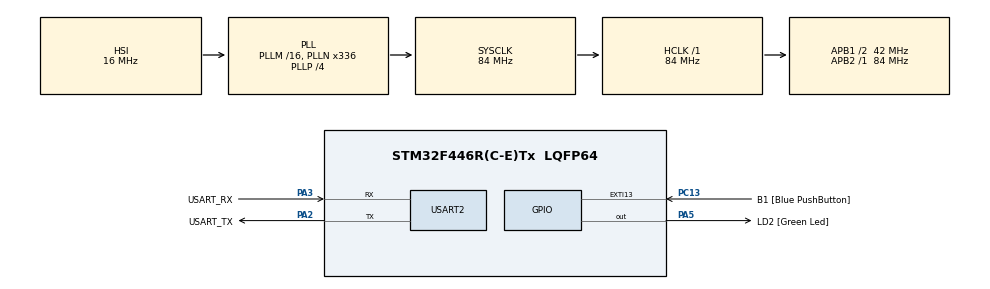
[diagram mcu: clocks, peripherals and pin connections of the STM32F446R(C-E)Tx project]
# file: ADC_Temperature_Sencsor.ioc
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ADC1.Channel-0\#ChannelRegularConversion=ADC_CHANNEL_TEMPSENSOR
ADC1.ContinuousConvMode=ENABLE
ADC1.NbrOfConversionFlag=1
ADC1.Rank-0\#ChannelRegularConversion=1
ADC1.SamplingTime-0\#ChannelRegularConversion=ADC_SAMPLETIME_15CYCLES
ADC1.master=1
Mcu.Family=STM32F4
Mcu.Name=STM32F446R(C-E)Tx
Mcu.Package=LQFP64
NVIC.PriorityGroup=NVIC_PRIORITYGROUP_0
PA13.GPIO_Label=TMS
PA13.Mode=Serial_Wire
PA13.Signal=SYS_JTMS-SWDIO
PA14.GPIO_Label=TCK
PA14.Mode=Serial_Wire
PA14.Signal=SYS_JTCK-SWCLK
PA2.GPIO_Label=USART_TX
PA2.Mode=Asynchronous
PA2.Signal=USART2_TX
PA3.GPIO_Label=USART_RX
PA3.Mode=Asynchronous
PA3.Signal=USART2_RX
PA5.GPIO_Label=LD2 [Green Led]
PA5.Signal=GPIO_Output
PB3.GPIO_Label=SWO
PB3.Signal=SYS_JTDO-SWO
PC13.GPIO_Label=B1 [Blue PushButton]
PC13.GPIO_ModeDefaultEXTI=GPIO_MODE_IT_FALLING
PC13.Signal=GPXTI13
PC14-OSC32_IN.Signal=RCC_OSC32_IN
PC15-OSC32_OUT.Signal=RCC_OSC32_OUT
PH0-OSC_IN.Signal=RCC_OSC_IN
PH1-OSC_OUT.Signal=RCC_OSC_OUT
ProjectManager.HeapSize=0x200
ProjectManager.StackSize=0x400
ProjectManager.TargetToolchain=STM32CubeIDE
RCC.48MHZClocksFreq_Value=84000000
RCC.AHBFreq_Value=84000000
RCC.APB1CLKDivider=RCC_HCLK_DIV2
RCC.APB1Freq_Value=42000000
RCC.APB1TimFreq_Value=84000000
RCC.APB2Freq_Value=84000000
RCC.APB2TimFreq_Value=84000000
RCC.CortexFreq_Value=84000000
RCC.FLatency-AdvancedSettings=FLASH_LATENCY_2
RCC.HCLKFreq_Value=84000000
RCC.HSE_VALUE=8000000
RCC.HSI_VALUE=16000000
RCC.PLLN=336
RCC.PLLP=RCC_PLLP_DIV4
RCC.SYSCLKFreq_VALUE=84000000
RCC.SYSCLKSource=RCC_SYSCLKSOURCE_PLLCLK
RCC.USBFreq_Value=168000000
RCC.VCOOutputFreq_Value=336000000
USART2.VirtualMode=VM_ASYNC
VP_ADC1_TempSens_Input.Mode=IN-TempSens
board=NUCLEO-F446RE

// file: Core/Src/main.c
/* USER CODE BEGIN Header */
/**
  ******************************************************************************
  * @file           : main.c
  * @brief          : Main program body
  ******************************************************************************
  * @attention
  *
  * Copyright (c) 2026 STMicroelectronics.
  * All rights reserved.
  *
  * This software is licensed under terms that can be found in the LICENSE file
  * in the root directory of this software component.
  * If no LICENSE file comes with this software, it is provided AS-IS.
  *
  ******************************************************************************
  */
/* USER CODE END Header */
#include "main.h"

ADC_HandleTypeDef hadc1;

UART_HandleTypeDef huart2;

/* USER CODE BEGIN PV */
const float AVG_SLOPE=2.5e-03f;
const float V25=0.76f;
const float ADC_TO_VOLT=3.3f/4095.0f;
/* USER CODE END PV */

void SystemClock_Config(void);
static void MX_GPIO_Init(void);
static void MX_USART2_UART_Init(void);
static void MX_ADC1_Init(void);

/* USER CODE BEGIN 0 */

/* USER CODE BEGIN PFP */

/* USER CODE END PFP */

/* Private user code ---------------------------------------------------------*/
/* USER CODE BEGIN 0 */
#ifdef __GNUC__
#define PUTCHAR_PROTOTYPE int __io_putchar(int ch)
#else
#define PUTCHAR_PROTOTYPE int fputc(int ch, FILE *f)
#endif

PUTCHAR_PROTOTYPE
{
   if(ch == '\n')
       HAL_UART_Transmit (&huart2, (uint8_t*) "\r", 1, 0xFFFF);
   HAL_UART_Transmit (&huart2, (uint8_t*) &ch, 1, 0xFFFF);

   return ch;
}
/* USER CODE END 0 */

int main(void)
{

  /* MCU Configuration--------------------------------------------------------*/

  /* Reset of all peripherals, Initializes the Flash interface and the Systick. */
  HAL_Init();

  /* Configure the system clock */
  SystemClock_Config();

  /* Initialize all configured peripherals */
  MX_GPIO_Init();
  MX_USART2_UART_Init();
  MX_ADC1_Init();

  /* Infinite loop */
  /* USER CODE BEGIN WHILE */

  //캘리브레이션 스타트(전원인가 or 리셋 후 self Cal해줘야 정상 ADC 결과값을 읽을수있음)
  // if (HAL_ADCEx_Calibration_Start (&hadc1)!=HAL_OK)
//		  {
//	  	  	  Error_Handler();
//	  	   }

  //캘리브레이션 스타트 처리
   if(HAL_ADC_Start (&hadc1)!=HAL_OK)
   {
	   Error_Handler();
   }

   uint16_t adc1;

   float vSense;// 센서 출력전압
   float temp;  // 센서 온도(셀시어스)

  while (1)
  {
	  HAL_ADC_PollForConversion (&hadc1, 100);
	  adc1=HAL_ADC_GetValue (&hadc1);
	//  printf("ADC1_temperature:%d\n",adc1);

	  vSense=adc1*ADC_TO_VOLT;
	  temp=(V25-vSense)/AVG_SLOPE+25.0;
	  printf("temperature; %d, %.2f℃\n",adc1,temp);

	  HAL_Delay(1000);
    /* USER CODE END WHILE */

  }
}

void SystemClock_Config(void)
{
  RCC_OscInitTypeDef RCC_OscInitStruct = {0};
  RCC_ClkInitTypeDef RCC_ClkInitStruct = {0};

  /** Configure the main internal regulator output voltage
  */
  __HAL_RCC_PWR_CLK_ENABLE();
  __HAL_PWR_VOLTAGESCALING_CONFIG(PWR_REGULATOR_VOLTAGE_SCALE3);

  /** Initializes the RCC Oscillators according to the specified parameters
  * in the RCC_OscInitTypeDef structure.
  */
  RCC_OscInitStruct.OscillatorType = RCC_OSCILLATORTYPE_HSI;
  RCC_OscInitStruct.HSIState = RCC_HSI_ON;
  RCC_OscInitStruct.HSICalibrationValue = RCC_HSICALIBRATION_DEFAULT;
  RCC_OscInitStruct.PLL.PLLState = RCC_PLL_ON;
  RCC_OscInitStruct.PLL.PLLSource = RCC_PLLSOURCE_HSI;
  RCC_OscInitStruct.PLL.PLLM = 16;
  RCC_OscInitStruct.PLL.PLLN = 336;
  RCC_OscInitStruct.PLL.PLLP = RCC_PLLP_DIV4;
  RCC_OscInitStruct.PLL.PLLQ = 2;
  RCC_OscInitStruct.PLL.PLLR = 2;
  if (HAL_RCC_OscConfig(&RCC_OscInitStruct) != HAL_OK)
  {
    Error_Handler();
  }

  /** Initializes the CPU, AHB and APB buses clocks
  */
  RCC_ClkInitStruct.ClockType = RCC_CLOCKTYPE_HCLK|RCC_CLOCKTYPE_SYSCLK
                              |RCC_CLOCKTYPE_PCLK1|RCC_CLOCKTYPE_PCLK2;
  RCC_ClkInitStruct.SYSCLKSource = RCC_SYSCLKSOURCE_PLLCLK;
  RCC_ClkInitStruct.AHBCLKDivider = RCC_SYSCLK_DIV1;
  RCC_ClkInitStruct.APB1CLKDivider = RCC_HCLK_DIV2;
  RCC_ClkInitStruct.APB2CLKDivider = RCC_HCLK_DIV1;

  if (HAL_RCC_ClockConfig(&RCC_ClkInitStruct, FLASH_LATENCY_2) != HAL_OK)
  {
    Error_Handler();
  }
}

static void MX_ADC1_Init(void)
{

  ADC_ChannelConfTypeDef sConfig = {0};

  /** Configure the global features of the ADC (Clock, Resolution, Data Alignment and number of conversion)
  */
  hadc1.Instance = ADC1;
  hadc1.Init.ClockPrescaler = ADC_CLOCK_SYNC_PCLK_DIV4;
  hadc1.Init.Resolution = ADC_RESOLUTION_12B;
  hadc1.Init.ScanConvMode = DISABLE;
  hadc1.Init.ContinuousConvMode = ENABLE;
  hadc1.Init.DiscontinuousConvMode = DISABLE;
  hadc1.Init.ExternalTrigConvEdge = ADC_EXTERNALTRIGCONVEDGE_NONE;
  hadc1.Init.ExternalTrigConv = ADC_SOFTWARE_START;
  hadc1.Init.DataAlign = ADC_DATAALIGN_RIGHT;
  hadc1.Init.NbrOfConversion = 1;
  hadc1.Init.DMAContinuousRequests = DISABLE;
  hadc1.Init.EOCSelection = ADC_EOC_SINGLE_CONV;
  if (HAL_ADC_Init(&hadc1) != HAL_OK)
  {
    Error_Handler();
  }

  /** Configure for the selected ADC regular channel its corresponding rank in the sequencer and its sample time.
  */
  sConfig.Channel = ADC_CHANNEL_TEMPSENSOR;
  sConfig.Rank = 1;
  sConfig.SamplingTime = ADC_SAMPLETIME_15CYCLES;
  if (HAL_ADC_ConfigChannel(&hadc1, &sConfig) != HAL_OK)
  {
    Error_Handler();
  }

}

static void MX_USART2_UART_Init(void)
{

  huart2.Instance = USART2;
  huart2.Init.BaudRate = 115200;
  huart2.Init.WordLength = UART_WORDLENGTH_8B;
  huart2.Init.StopBits = UART_STOPBITS_1;
  huart2.Init.Parity = UART_PARITY_NONE;
  huart2.Init.Mode = UART_MODE_TX_RX;
  huart2.Init.HwFlowCtl = UART_HWCONTROL_NONE;
  huart2.Init.OverSampling = UART_OVERSAMPLING_16;
  if (HAL_UART_Init(&huart2) != HAL_OK)
  {
    Error_Handler();
  }

}

static void MX_GPIO_Init(void)
{
  GPIO_InitTypeDef GPIO_InitStruct = {0};

  /* GPIO Ports Clock Enable */
  __HAL_RCC_GPIOC_CLK_ENABLE();
  __HAL_RCC_GPIOH_CLK_ENABLE();
  __HAL_RCC_GPIOA_CLK_ENABLE();
  __HAL_RCC_GPIOB_CLK_ENABLE();

  /*Configure GPIO pin Output Level */
  HAL_GPIO_WritePin(LD2_GPIO_Port, LD2_Pin, GPIO_PIN_RESET);

  /*Configure GPIO pin : B1_Pin */
  GPIO_InitStruct.Pin = B1_Pin;
  GPIO_InitStruct.Mode = GPIO_MODE_IT_FALLING;
  GPIO_InitStruct.Pull = GPIO_NOPULL;
  HAL_GPIO_Init(B1_GPIO_Port, &GPIO_InitStruct);

  /*Configure GPIO pin : LD2_Pin */
  GPIO_InitStruct.Pin = LD2_Pin;
  GPIO_InitStruct.Mode = GPIO_MODE_OUTPUT_PP;
  GPIO_InitStruct.Pull = GPIO_NOPULL;
  GPIO_InitStruct.Speed = GPIO_SPEED_FREQ_LOW;
  HAL_GPIO_Init(LD2_GPIO_Port, &GPIO_InitStruct);

}

void Error_Handler(void)
{
  __disable_irq();
  while (1)
  {
  }
}
